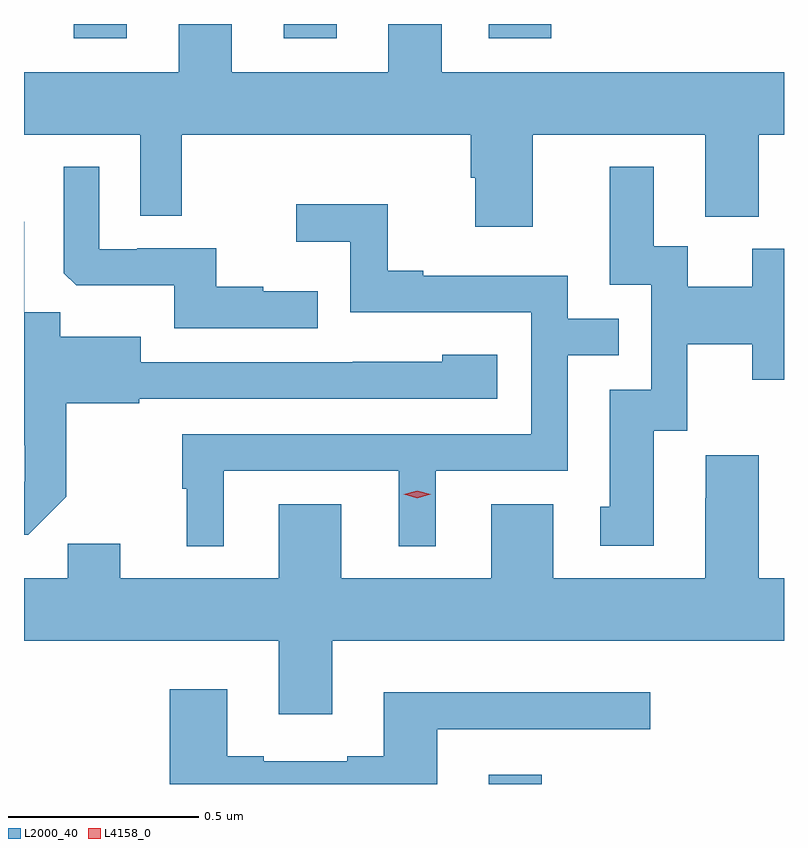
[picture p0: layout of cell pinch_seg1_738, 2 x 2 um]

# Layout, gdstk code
import gdstk
lib = gdstk.Library(unit=1e-6, precision=1e-09)
def R(c, l, rs):  # rectangles x0, y0, x1, y1
    for r in rs: c.add(gdstk.rectangle(r[:2], r[2:], *l))
def P(c, l, *ps):  # polygons
    for p in ps: c.add(gdstk.Polygon(p, *l))
L2000_40 = (2000, 40)
L4158_0 = (4158, 0)

pinch_seg1_738 = lib.new_cell('pinch_seg1_738')
R(pinch_seg1_738, L2000_40, [(643.061,524.715,643.201,524.74), (641.969,526.677,642.109,526.715), (642.521,526.677,642.661,526.715), (643.061,526.677,643.226,526.715)])
P(pinch_seg1_738, L2000_40, [(643.177,526.424),(643.631,526.424),(643.631,526.208),(643.771,526.208),(643.771,526.424),(643.838,526.424),(643.838,526.588),(642.937,526.588),(642.937,526.715),(642.797,526.715),(642.797,526.588),(642.385,526.588),(642.385,526.715),(642.245,526.715),(642.245,526.588),(641.838,526.588),(641.838,526.424),(642.144,526.424),(642.144,526.21),(642.253,526.21),(642.253,526.424),(643.013,526.424),(643.013,526.311),(643.025,526.311),(643.025,526.182),(643.177,526.182)],
  [(643.495,525.645),(643.584,525.645),(643.584,525.872),(643.754,525.872),(643.754,525.779),(643.838,525.779),(643.838,526.123),(643.754,526.123),(643.754,526.024),(643.585,526.024),(643.585,526.13),(643.495,526.13),(643.495,526.339),(643.379,526.339),(643.379,526.029),(643.488,526.029),(643.488,525.753),(643.379,525.753),(643.379,525.444),(643.355,525.444),(643.355,525.342),(643.495,525.342)],
  [(642.611,526.012),(642.467,526.012),(642.467,526.024),(642.344,526.024),(642.344,526.125),(642.136,526.125),(642.136,526.122),(642.036,526.122),(642.036,526.339),(641.943,526.339),(641.943,526.059),(641.975,526.028),(642.234,526.028),(642.234,525.915),(642.611,525.915)],
  [(642.364,525.54),(642.824,525.54),(642.824,525.341),(642.922,525.341),(642.922,525.54),(643.269,525.54),(643.269,525.843),(643.403,525.843),(643.403,525.939),(643.269,525.939),(643.269,526.053),(642.889,526.053),(642.889,526.066),(642.795,526.066),(642.795,526.241),(642.555,526.241),(642.555,526.142),(642.696,526.142),(642.696,525.957),(643.173,525.957),(643.173,525.636),(642.255,525.636),(642.255,525.492),(642.266,525.492),(642.266,525.341),(642.364,525.341)],
  [(641.949,525.471),(641.949,525.717),(642.141,525.717),(642.141,525.729),(643.084,525.729),(643.084,525.844),(642.939,525.844),(642.939,525.826),(642.703,525.826),(642.703,525.825),(642.145,525.825),(642.145,525.892),(641.934,525.892),(641.934,525.956),(641.839,525.956),(641.839,526.195),(641.838,526.195),(641.838,525.607),(641.84,525.607),(641.84,525.512),(641.838,525.51),(641.838,525.371),(641.849,525.371)],
  [(643.838,525.256),(643.771,525.256),(643.771,525.58),(643.632,525.58),(643.632,525.467),(643.631,525.467),(643.631,525.256),(643.231,525.256),(643.231,525.451),(643.067,525.451),(643.067,525.256),(642.673,525.256),(642.673,525.451),(642.509,525.451),(642.509,525.256),(642.091,525.256),(642.091,525.347),(641.953,525.347),(641.953,525.256),(641.838,525.256),(641.838,525.092),(642.509,525.092),(642.509,524.898),(642.649,524.898),(642.649,525.092),(643.838,525.092)],
  [(642.925,524.859),(643.486,524.859),(643.486,524.956),(642.785,524.956),(642.785,524.788),(642.689,524.788),(642.689,524.775),(642.469,524.775),(642.469,524.788),(642.373,524.788),(642.373,524.965),(642.221,524.965),(642.221,524.715),(642.925,524.715)])
P(pinch_seg1_738, L4158_0, [(642.873,525.467),(642.837,525.477),(642.837,525.477),(642.837,525.477),(642.873,525.487),(642.909,525.477),(642.909,525.477),(642.909,525.477)])

lib.write_gds('pinch_seg1_738.gds')
